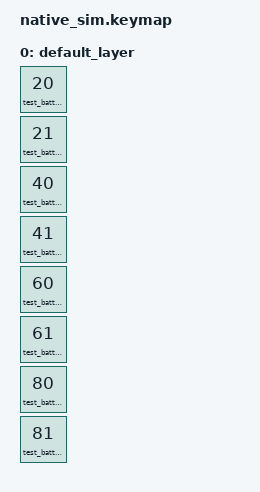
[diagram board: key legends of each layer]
#include <dt-bindings/zmk/keys.h>
#include <dt-bindings/zmk/kscan_mock.h>
#include <dt-bindings/zmk/led_matrix.h>
#include <dt-bindings/zmk/led_matrix_colors.h>
#include <dt-bindings/led/led.h>
#include <behaviors.dtsi>

/ {
    chosen {
        zmk,kscan = &kscan;
        zmk,led-matrix = &led_matrix;
    };

    behaviors {
        test_battery_state: test_battery_state {
            compatible = "zmk,behavior-raise-battery-state";
            #binding-cells = <1>;
        };
    };

    kscan: native_posix_64_kscan_mock {
        compatible = "zmk,kscan-mock";
        rows = <1>;
        columns = <8>;
        exit-after;
        events = <
            ZMK_MOCK_PRESS(0,0,10)
            ZMK_MOCK_RELEASE(0,0,20)
            ZMK_MOCK_PRESS(0,1,120)
            ZMK_MOCK_RELEASE(0,1,20)
            ZMK_MOCK_PRESS(0,2,120)
            ZMK_MOCK_RELEASE(0,2,20)
            ZMK_MOCK_PRESS(0,3,120)
            ZMK_MOCK_RELEASE(0,3,20)
            ZMK_MOCK_PRESS(0,4,120)
            ZMK_MOCK_RELEASE(0,4,20)
            ZMK_MOCK_PRESS(0,5,120)
            ZMK_MOCK_RELEASE(0,5,20)
            ZMK_MOCK_PRESS(0,6,120)
            ZMK_MOCK_RELEASE(0,6,20)
            ZMK_MOCK_PRESS(0,7,120)
            ZMK_MOCK_RELEASE(0,7,20)
        >;
    };

    keymap {
        compatible = "zmk,keymap";

        default_layer {
            bindings = <
                &test_battery_state 20
                &test_battery_state 21
                &test_battery_state 40
                &test_battery_state 41
                &test_battery_state 60
                &test_battery_state 61
                &test_battery_state 80
                &test_battery_state 81
            >;
        };
    };

    led_matrix_dev: led_matrix_dev {
        compatible = "zmk,led-mock";
        mode = "color";

        led_0 { index = <0>; color-mapping = <LED_COLOR_ID_GREEN LED_COLOR_ID_RED LED_COLOR_ID_BLUE>; };
        led_1 { index = <1>; color-mapping = <LED_COLOR_ID_GREEN LED_COLOR_ID_RED LED_COLOR_ID_BLUE>; };
        led_2 { index = <2>; color-mapping = <LED_COLOR_ID_GREEN LED_COLOR_ID_RED LED_COLOR_ID_BLUE>; };
        led_3 { index = <3>; color-mapping = <LED_COLOR_ID_GREEN LED_COLOR_ID_RED LED_COLOR_ID_BLUE>; };
        led_4 { index = <4>; color-mapping = <LED_COLOR_ID_GREEN LED_COLOR_ID_RED LED_COLOR_ID_BLUE>; };
    };

    led_matrix: led_matrix {
        compatible = "zmk,led-matrix";
        led-driver = "matrix";
        led-device = <&led_matrix_dev>;
        led-count = <5>;
        status-timeout-ms = <300>;
        battery-timeout-ms = <300>;
        battery-leds = <0 1 2 3 4>;
        battery-level-colors = <LM_RED LM_ORANGE LM_YELLOW LM_GREEN LM_CYAN>;
        battery-color-off = <LM_BLACK>;
        matrix-led-grid = <
            0 1 2 3 4 LM_NOLED LM_NOLED LM_NOLED
        >;

        profile0 {
            profile-id = <0>;
            display-name = "Battery 5 Step";
            renderer = "solid";
            colors = <LM_BLACK>;
            brightness = <100>;
            period-ms = <1000>;
        };
    };
};
